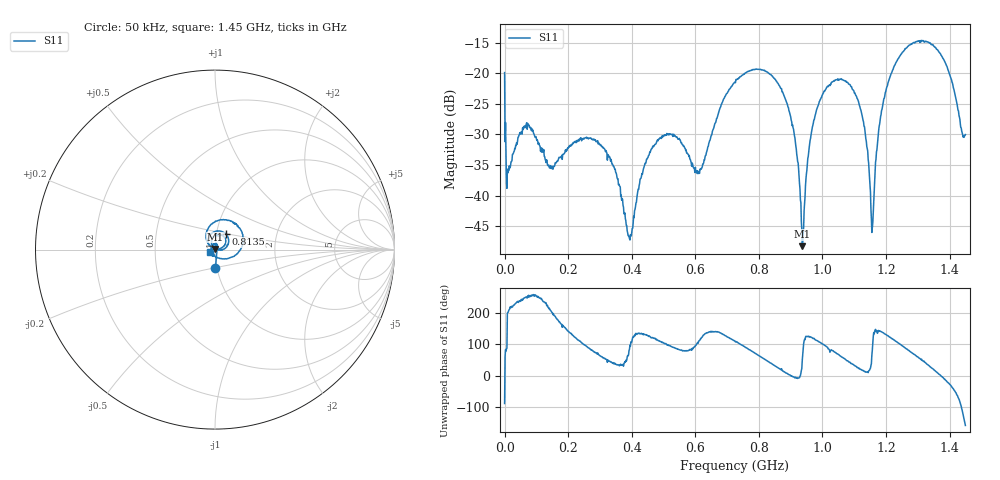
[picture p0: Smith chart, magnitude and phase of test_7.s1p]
! Created with skrf 1.11.0 (http://scikit-rf.org).
# Hz S RI R 50.0
!freq ReS11 ImS11
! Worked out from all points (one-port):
!   1001 points, 50 kHz to 1.45 GHz, reference 50 ohm
!   lowest |S11| = -48.3 dB at 936.7 MHz (marker M1), VSWR 1.01, Z = 50.3 + j0.296 ohm
!   |S11| at or under -10 dB: start of sweep to end of sweep
!   S11 on the Smith chart (normalised r, x): 50 kHz: 0.99, -0.20; 813.5 MHz: 1.11, +0.20; 1.45 GHz: 0.94, -0.02
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50000  0.0027 -0.101
8749700  -0.0154 -0.00532
1.309955e7  -0.0141 -0.0076
6.96476e7  -0.0137 -0.0369
1.421451e8  -0.0142 -0.00898
1.812938e8  -0.0178 0.00864
2.856902e8  0.00776 0.0275
3.625375e8  0.01 0.00642
3.944364e8  -0.000543 0.00431
4.596842e8  -0.0124 0.0197
5.437812e8  0.00303 0.0295
6.133788e8  -0.00562 0.0141
7.25025e8  -0.0292 0.0793
8.13472e8  0.0603 0.087
8.671201e8  0.0719 0.0271
9.062688e8  0.0378 -0.00205
9.367177e8  0.0025 0.00294
9.613668e8  -0.0153 0.0238
9.87466e8  -0.0177 0.0527
1.035314e9  0.0186 0.0841
1.087512e9  0.0598 0.0536
1.128111e9  0.0394 0.0119
1.15711e9  0.000853 0.00545
1.17451e9  -0.0211 0.0193
1.194809e9  -0.043 0.0451
1.268756e9  0.0222 0.164
1.370253e9  0.1449 0.00639
1.45e9  -0.0292 -0.0117
